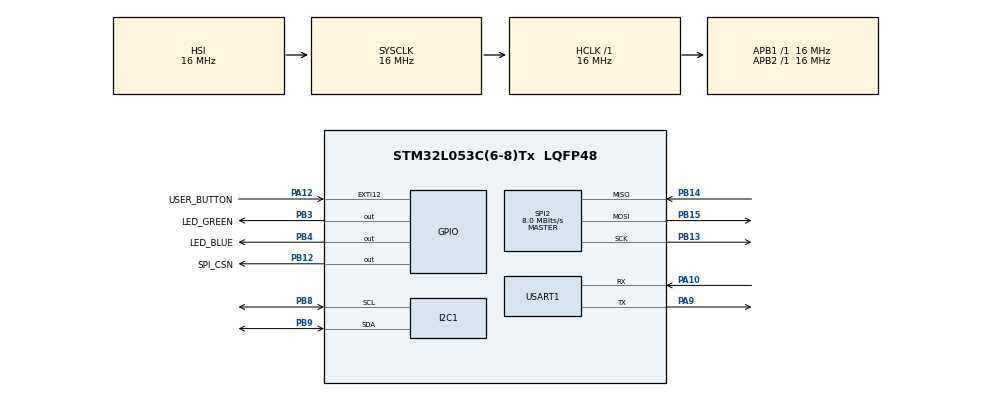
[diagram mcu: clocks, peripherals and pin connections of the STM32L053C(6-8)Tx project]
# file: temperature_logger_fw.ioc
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I2C1.Timing=0x00303D5B
Mcu.Family=STM32L0
Mcu.Name=STM32L053C(6-8)Tx
Mcu.Package=LQFP48
NVIC.EXTI4_15_IRQn=true\:3\:0\:true\:false\:true\:true\:true\:true
NVIC.RTC_IRQn=true\:0\:0\:true\:false\:true\:true\:true\:true
NVIC.TIM21_IRQn=true\:0\:0\:false\:false\:true\:true\:true\:true
NVIC.TIM2_IRQn=true\:3\:0\:true\:false\:true\:true\:true\:true
NVIC.USART1_IRQn=true\:3\:0\:true\:false\:true\:true\:true\:true
PA10.Mode=Asynchronous
PA10.Signal=USART1_RX
PA12.GPIO_Label=USER_BUTTON
PA12.GPIO_ModeDefaultEXTI=GPIO_MODE_IT_RISING_FALLING
PA12.Signal=GPXTI12
PA13.Mode=Serial_Wire
PA13.Signal=SYS_SWDIO
PA14.Mode=Serial_Wire
PA14.Signal=SYS_SWCLK
PA9.Mode=Asynchronous
PA9.Signal=USART1_TX
PB12.GPIO_Label=SPI_CSN
PB12.PinState=GPIO_PIN_SET
PB12.Signal=GPIO_Output
PB13.Mode=Full_Duplex_Master
PB13.Signal=SPI2_SCK
PB14.Mode=Full_Duplex_Master
PB14.Signal=SPI2_MISO
PB15.Mode=Full_Duplex_Master
PB15.Signal=SPI2_MOSI
PB3.GPIO_Label=LED_GREEN
PB3.Signal=GPIO_Output
PB4.GPIO_Label=LED_BLUE
PB4.Signal=GPIO_Output
PB8.GPIO_Pu=GPIO_PULLUP
PB8.Mode=I2C
PB8.Signal=I2C1_SCL
PB9.GPIO_Pu=GPIO_PULLUP
PB9.Mode=I2C
PB9.Signal=I2C1_SDA
ProjectManager.HeapSize=0x200
ProjectManager.StackSize=0x400
ProjectManager.TargetToolchain=STM32CubeIDE
RCC.ADCFreq_Value=16000000
RCC.AHBFreq_Value=16000000
RCC.APB1Freq_Value=16000000
RCC.APB1TimFreq_Value=16000000
RCC.APB2Freq_Value=16000000
RCC.APB2TimFreq_Value=16000000
RCC.HCLKFreq_Value=16000000
RCC.HSE_VALUE=8000000
RCC.HSI16_VALUE=16000000
RCC.HSI48_VALUE=48000000
RCC.HSI_VALUE=16000000
RCC.LSE_VALUE=32768
RCC.MSIClockRange=RCC_MSIRANGE_6
RCC.MSI_VALUE=4194000
RCC.SYSCLKFreq_VALUE=16000000
RCC.SYSCLKSource=RCC_SYSCLKSOURCE_HSI
RCC.VCOOutputFreq_Value=48000000
RTC.Alarm-Alarm\ A=RTC_ALARM_A
RTC.AlarmDateWeekDaySel-Alarm\ A=RTC_ALARMDATEWEEKDAYSEL_DATE
RTC.AlarmSubSecondMask-Alarm\ A=RTC_ALARMSUBSECONDMASK_NONE
RTC.AsynchPrediv=125
RTC.Date=28
RTC.Format=RTC_FORMAT_BIN
RTC.Hours_A-Alarm\ A=1
RTC.Month=RTC_MONTH_AUGUST
RTC.SynchPrediv=296
RTC.WeekDay=RTC_WEEKDAY_SATURDAY
RTC.Year=21
SPI2.CalculateBaudRate=8.0 MBits/s
SPI2.Direction=SPI_DIRECTION_2LINES
SPI2.Mode=SPI_MODE_MASTER
SPI2.VirtualType=VM_MASTER
TIM2.AutoReloadPreload=TIM_AUTORELOAD_PRELOAD_DISABLE
TIM2.Channel-Output\ Compare1\ No\ Output=TIM_CHANNEL_1
TIM2.Period=499
TIM2.Prescaler=15999
TIM2.Pulse-Output\ Compare1\ No\ Output=99
TIM21.Channel-Output\ Compare1\ No\ Output=TIM_CHANNEL_1
TIM21.Period=599
TIM21.Prescaler=15999
TIM21.Pulse-Output\ Compare1\ No\ Output=999
USART1.VirtualMode-Asynchronous=VM_ASYNC
VP_RTC_VS_RTC_Activate.Mode=RTC_Enabled
VP_RTC_VS_RTC_Alarm_A_Intern.Mode=Alarm A
VP_RTC_VS_RTC_Calendar.Mode=RTC_Calendar
VP_TIM21_VS_ClockSourceINT.Mode=Internal
VP_TIM21_VS_no_output1.Mode=Output Compare1 No Output
VP_TIM2_VS_ClockSourceINT.Mode=Internal
VP_TIM2_VS_no_output1.Mode=Output Compare1 No Output
board=custom

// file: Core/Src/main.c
/* USER CODE BEGIN Header */
/**
  ******************************************************************************
  * @file           : main.c
  * @brief          : Main program body
  ******************************************************************************
  * @attention
  *
  * <h2><center>&copy; Copyright (c) 2021 STMicroelectronics.
  * All rights reserved.</center></h2>
  *
  * This software component is licensed by ST under BSD 3-Clause license,
  * the "License"; You may not use this file except in compliance with the
  * License. You may obtain a copy of the License at:
  *                        opensource.org/licenses/BSD-3-Clause
  *
  ******************************************************************************
  */

// TODO

// - Check RTC time drift
// - Check power consumption
// - Check power switching
// - Check min battery voltage
// - Blink LED when erasing
// - Blink LED when reading

/* USER CODE END Header */
#include "main.h"
#include "i2c.h"
#include "rtc.h"
#include "spi.h"
#include "tim.h"
#include "usart.h"
#include "gpio.h"

/* USER CODE BEGIN Includes */
#include <stdlib.h>
#include <stdio.h>
#include "event_manager.h"
#include "button.h"
#include "storage_controller.h"
#include "pc_comms.h"
#include "dev_time.h"
#include "tmp112_sensor.h"
#include "dev_led.h"
#include "dev_operation_tracker.h"
/* USER CODE END Includes */

/* USER CODE BEGIN PV */
uint8_t is_in_config = 0;
/* USER CODE END PV */

void SystemClock_Config(void);
/* USER CODE BEGIN PFP */
void log_temperature();
void chip_read();
void chip_erase();
void update_time();
void get_state();
void change_alarm();
void indicate_alarm();
void tmp112_i2c_tx_func(uint8_t address, uint8_t* data, size_t size);
void tmp112_i2c_rx_func(uint8_t address, uint8_t* read_data, size_t size);
/* USER CODE END PFP */

/* USER CODE BEGIN 0 */
void HAL_GPIO_EXTI_Callback(uint16_t GPIO_Pin)
{
	process_button_event();
}

void HAL_TIM_PeriodElapsedCallback(TIM_HandleTypeDef *htim)
{
	if (htim == &htim2)
	{
		dev_led_low_done();
	}
}

void HAL_TIM_OC_DelayElapsedCallback(TIM_HandleTypeDef *htim)
{
	if (htim == &htim21 && htim->Channel == HAL_TIM_ACTIVE_CHANNEL_1)
	{
		button_press_and_hold();
	}
	else if(htim == &htim2 && htim->Channel == HAL_TIM_ACTIVE_CHANNEL_1)
	{
		dev_led_high_done();
	}
}

void HAL_RTC_AlarmAEventCallback(RTC_HandleTypeDef *hrtc)
{
    rtc_alarm_elapsed();
}

void HAL_UART_RxCpltCallback(UART_HandleTypeDef *huart)
{
	data_received_from_pc();
}
/* USER CODE END 0 */

int main(void)
{

  /* MCU Configuration--------------------------------------------------------*/

  /* Reset of all peripherals, Initializes the Flash interface and the Systick. */
  HAL_Init();

  /* Configure the system clock */
  SystemClock_Config();

  /* Initialize all configured peripherals */
  MX_GPIO_Init();
  MX_TIM2_Init();
  MX_SPI2_Init();
  MX_USART1_UART_Init();
  MX_RTC_Init();
  MX_I2C1_Init();
  MX_TIM21_Init();
  /* USER CODE BEGIN 2 */

  tmp112_sensor_init(0x48, tmp112_i2c_tx_func, tmp112_i2c_rx_func);
  button_init(submit_event);
  dev_time_init(submit_event);
  pc_comms_init(submit_event);
  /* USER CODE END 2 */

  /* Infinite loop */
  /* USER CODE BEGIN WHILE */
  uint8_t was_in_config = is_in_config;

#ifdef STARTUP_TEST
  for (int i = 0; i < 12; i++)
  {
	  HAL_GPIO_TogglePin(GPIOB, GPIO_PIN_3);
	  HAL_GPIO_TogglePin(GPIOB, GPIO_PIN_4);
	  HAL_Delay(250);
  }

  HAL_GPIO_WritePin(GPIOB, GPIO_PIN_3, GPIO_PIN_SET);
  while(1)
  {
	  HAL_GPIO_TogglePin(GPIOB, GPIO_PIN_3);
	  HAL_GPIO_TogglePin(GPIOB, GPIO_PIN_4);
	  HAL_Delay(1000);
  }
#endif

#ifdef PRINT_TIME
  while(1)
  {
	  Timestamp ts;
	  get_timestamp(&ts);
	  HAL_UART_Transmit(&huart1, ts.buffer, sizeof(ts.buffer), 0xFFFFFFFF);
	  HAL_Delay(1000);
  }
#endif

#ifdef STORAGE_READ_WRITE
  {
	  flash_storage_erase_full();

	  storage_entry se;
	  se.dt.year = 2022;
	  se.dt.month = 11;
	  se.dt.date = 18;
	  se.dt.hour = 21;

	  // Create 1000 dummy data items
	  for (int i = 0; i < 100; i++)
	  {
		  se.tr = i % 50;
		  se.dt.minute = i / 60;
		  se.dt.seconds = i % 60;
		  flash_storage_write(&se, 1);
	  }

	  int turn = 0;
	  while (1)
	  {
		  int count = flash_storage_read(&se, 1);

		  if (count)
		  {
			  const datetime* dt = &(se.dt);

			  char reading[34] = {0};
			  snprintf(reading, sizeof(reading), "\r\n[%04d].%04d:%02d:%02d:%02d:%02d:%02d:%04d",
					turn, dt->year, dt->month, dt->date, dt->hour, dt->minute, dt->seconds,
					se.tr);
			  HAL_UART_Transmit(&huart1, (uint8_t*)reading, sizeof(reading), 0xFFFFFFFF);
			  turn++;
			  HAL_Delay(200);
		  }
		  else
		  {
			  while(1);
		  }
	  }
  }
#endif

  // TODO: Find next write address
  storage_controller_init();

  HAL_DBGMCU_EnableDBGStopMode();

  while (1)
  {
      event_id ev = get_next_event();

	  if (!is_in_config && DEVICE_EVENT_NONE == ev && !dev_operation_is_pending())
	  {
		  HAL_SuspendTick();
		  __HAL_PWR_CLEAR_FLAG(PWR_FLAG_WU);
		  HAL_PWR_EnterSTOPMode(PWR_LOWPOWERREGULATOR_ON, PWR_STOPENTRY_WFI);

		  SystemClock_Config();
		  ev = get_next_event();
	  }

      switch(ev)
      {
          case DEVICE_EVENT_RTC_ALARM_ELAPSED:
              log_temperature();
              break;

          case DEVICE_EVENT_CHIP_READ:
              if (is_in_config)
              {
            	  chip_read();
              }
              break;

          case DEVICE_EVENT_LONG_BUTTON_PRESS:
              is_in_config = ~is_in_config;
              break;

          case DEVICE_EVENT_CHIP_ERASE:
              if (is_in_config)
              {
            	  // TODO:
            	  // stop logging
                  chip_erase();
                  // start logging
              }
              else
              {
            	  // TODO: Send error
              }
              break;

          case DEVICE_EVENT_UPDATE_TIME:
              if (is_in_config)
              {
            	  update_time();
              }
              break;

          case DEVICE_EVENT_GET_STATE:
              if (is_in_config)
              {
            	  get_state();
              }
              break;

          case DEVICE_EVENT_SINGLE_BUTTON_PRESS:
              if (is_in_config)
              {
                  change_alarm();
              }
              else
              {
                  indicate_alarm();
              }
              break;

          default:
              break;
      }

	  if (is_in_config != was_in_config)
	  {
		  char done[] = "<<M";
		  HAL_UART_Transmit(&huart1, (uint8_t*)done, sizeof(done), 0xFFFFFFFF);
          indicate_alarm();
		  was_in_config = is_in_config;

		  if (is_in_config)
		  {
			  HAL_GPIO_WritePin(LED_BLUE_GPIO_Port, LED_BLUE_Pin, GPIO_PIN_SET);
		  }
		  else
		  {
			  HAL_GPIO_WritePin(LED_BLUE_GPIO_Port, LED_BLUE_Pin, GPIO_PIN_RESET);
		  }
	  }

      complete_event(ev);
    /* USER CODE END WHILE */

  }
}

void SystemClock_Config(void)
{
  RCC_OscInitTypeDef RCC_OscInitStruct = {0};
  RCC_ClkInitTypeDef RCC_ClkInitStruct = {0};
  RCC_PeriphCLKInitTypeDef PeriphClkInit = {0};

  /** Configure the main internal regulator output voltage
  */
  __HAL_PWR_VOLTAGESCALING_CONFIG(PWR_REGULATOR_VOLTAGE_SCALE1);

  /** Initializes the RCC Oscillators according to the specified parameters
  * in the RCC_OscInitTypeDef structure.
  */
  RCC_OscInitStruct.OscillatorType = RCC_OSCILLATORTYPE_HSI|RCC_OSCILLATORTYPE_LSI;
  RCC_OscInitStruct.HSIState = RCC_HSI_ON;
  RCC_OscInitStruct.HSICalibrationValue = RCC_HSICALIBRATION_DEFAULT;
  RCC_OscInitStruct.LSIState = RCC_LSI_ON;
  RCC_OscInitStruct.PLL.PLLState = RCC_PLL_NONE;
  if (HAL_RCC_OscConfig(&RCC_OscInitStruct) != HAL_OK)
  {
    Error_Handler();
  }

  /** Initializes the CPU, AHB and APB buses clocks
  */
  RCC_ClkInitStruct.ClockType = RCC_CLOCKTYPE_HCLK|RCC_CLOCKTYPE_SYSCLK
                              |RCC_CLOCKTYPE_PCLK1|RCC_CLOCKTYPE_PCLK2;
  RCC_ClkInitStruct.SYSCLKSource = RCC_SYSCLKSOURCE_HSI;
  RCC_ClkInitStruct.AHBCLKDivider = RCC_SYSCLK_DIV1;
  RCC_ClkInitStruct.APB1CLKDivider = RCC_HCLK_DIV1;
  RCC_ClkInitStruct.APB2CLKDivider = RCC_HCLK_DIV1;

  if (HAL_RCC_ClockConfig(&RCC_ClkInitStruct, FLASH_LATENCY_0) != HAL_OK)
  {
    Error_Handler();
  }
  PeriphClkInit.PeriphClockSelection = RCC_PERIPHCLK_USART1|RCC_PERIPHCLK_I2C1
                              |RCC_PERIPHCLK_RTC;
  PeriphClkInit.Usart1ClockSelection = RCC_USART1CLKSOURCE_PCLK2;
  PeriphClkInit.I2c1ClockSelection = RCC_I2C1CLKSOURCE_PCLK1;
  PeriphClkInit.RTCClockSelection = RCC_RTCCLKSOURCE_LSI;
  if (HAL_RCCEx_PeriphCLKConfig(&PeriphClkInit) != HAL_OK)
  {
    Error_Handler();
  }
}

/* USER CODE BEGIN 4 */
void log_temperature()
{
    //char done[] = "<<L";
    //HAL_UART_Transmit(&huart1, (uint8_t*)done, sizeof(done), 0xFFFFFFFF);
	storage_entry se;
    set_next_alarm();
    double true_temp = tmp112_sensor_get_temperature();
    se.tr = true_temp * 10000;
    get_datetime(&(se.dt));
    flash_storage_write(&se, 1);
}

void chip_read()
{
    flash_storage_read_start();

    int read_index = 0;
    while (1)
    {
		storage_entry se;

		int count = flash_storage_read(&se, 1);

		if (count)
		{
		  const datetime* dt = &(se.dt);

		  char reading[34] = {0};
		  snprintf(reading, sizeof(reading), "\r\n[%04d].%04d:%02d:%02d:%02d:%02d:%02d:%04d",
				  read_index, dt->year, dt->month, dt->date, dt->hour, dt->minute, dt->second,
				se.tr);
		  HAL_UART_Transmit(&huart1, (uint8_t*)reading, sizeof(reading), 0xFFFFFFFF);
		  ++read_index;
		  HAL_Delay(50);
		}
		else
		{
		  return;
		}
	}
}

void chip_erase()
{
	flash_storage_erase_full();
    char done[] = "<<E";
    HAL_UART_Transmit(&huart1, (uint8_t*)done, sizeof(done), 0xFFFFFFFF);
}

void update_time()
{
    dev_time_set(pc_comms_yy, pc_comms_mm, pc_comms_dd, pc_comms_hh, pc_comms_min, pc_comms_ss);
    char done[] = "<<T";
    HAL_UART_Transmit(&huart1, (uint8_t*)done, sizeof(done), 0xFFFFFFFF);
}

void get_state()
{
	datetime dt;
    double true_temp = tmp112_sensor_get_temperature();
    temperature tr = true_temp * 10000;
    get_datetime(&dt);
    char status[27] = {0};
	snprintf(status, sizeof(status), "%04d:%02d:%02d:%02d:%02d:%02d:%04d\r\n",
		  dt.year, dt.month, dt.date, dt.hour, dt.minute, dt.second, tr);
    HAL_UART_Transmit(&huart1, (uint8_t*)status, sizeof(status), 0xFFFFFFFF);
}

void change_alarm()
{
    dev_time_alarm_change();
    indicate_alarm();
}

void indicate_alarm()
{
    uint8_t alarm = dev_time_get_alarm();
    dev_led_indicate_alarm(alarm);
    dev_operation_complete(DEV_OPERATION_BUTTON);
}

void tmp112_i2c_tx_func(uint8_t address, uint8_t* data, size_t size)
{
	HAL_I2C_Master_Transmit(&hi2c1, (address << 1), data, size, 0xffffffff);
}

void tmp112_i2c_rx_func(uint8_t address, uint8_t* read_data, size_t size)
{
	HAL_I2C_Master_Receive(&hi2c1, (address << 1), read_data, size, 0xffffffff);
}
/* USER CODE END 4 */

void Error_Handler(void)
{
}
